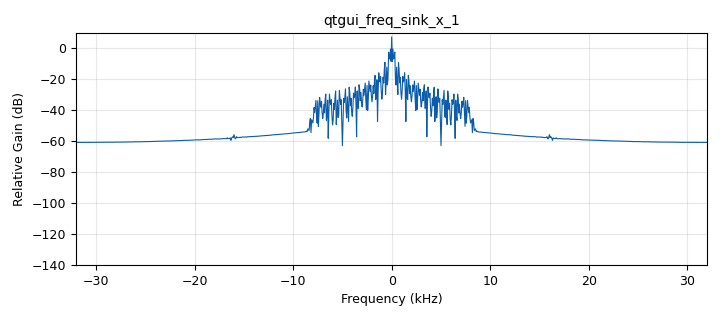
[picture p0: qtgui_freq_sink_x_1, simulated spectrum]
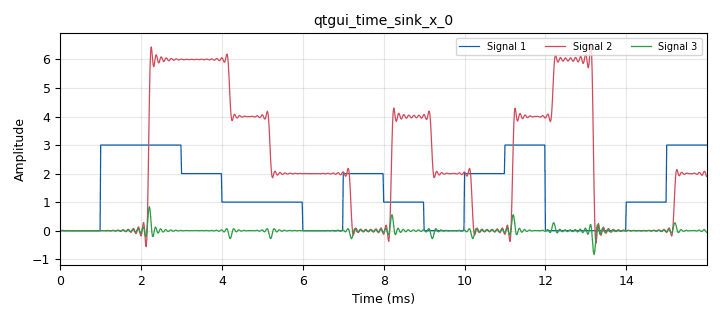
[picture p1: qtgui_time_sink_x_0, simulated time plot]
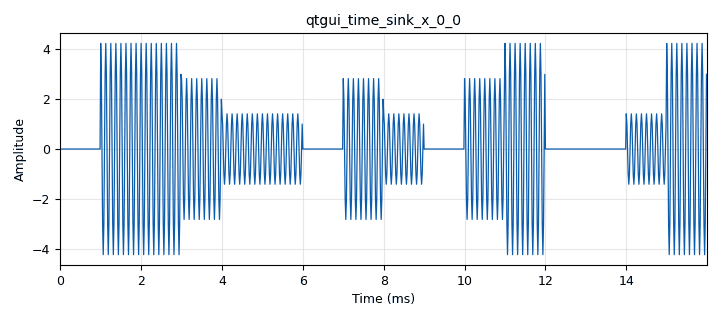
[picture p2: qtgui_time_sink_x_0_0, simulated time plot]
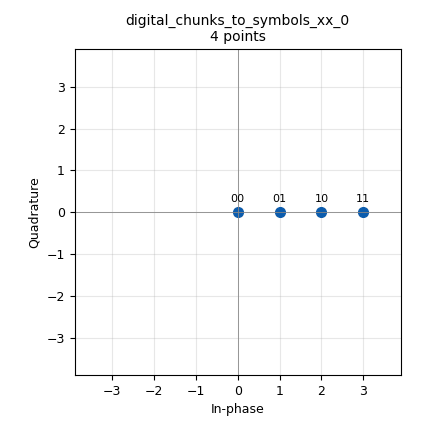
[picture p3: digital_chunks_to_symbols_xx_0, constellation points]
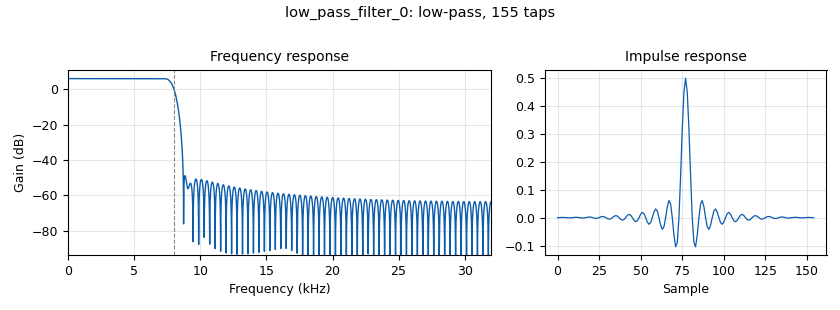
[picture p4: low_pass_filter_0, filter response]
options:
  parameters:
    author: ayyou
    generate_options: qt_gui
    id: untitled
    output_language: python
    title: Not titled yet
  states: {}

blocks:
- name: Delay
  id: variable_qtgui_range
  parameters:
    label: delay_bandpass_signal
    start: '0'
    step: '1'
    stop: '1000'
    value: '0'
  states: {}
- name: carrier_frequency
  id: variable
  parameters:
    value: '8000'
  states: {}
- name: interpolating_factor
  id: variable
  parameters:
    value: samp_rate //1000
  states: {}
- name: samp_rate
  id: variable
  parameters:
    value: '64000'
  states: {}
- name: analog_random_source_x_0
  id: analog_random_source_x
  parameters:
    max: '4'
    min: '0'
    num_samps: '1024'
    repeat: 'True'
    type: int
  states: {}
- name: analog_sig_source_x_0
  id: analog_sig_source_x
  parameters:
    amp: '1.414213562'
    freq: carrier_frequency
    offset: '0'
    phase: '0'
    samp_rate: samp_rate
    type: float
    waveform: analog.GR_COS_WAVE
  states: {}
- name: analog_sig_source_x_0_0
  id: analog_sig_source_x
  parameters:
    amp: '1.414213562'
    freq: carrier_frequency
    offset: '0'
    phase: '0'
    samp_rate: samp_rate
    type: float
    waveform: analog.GR_COS_WAVE
  states: {}
- name: analog_sig_source_x_0_0_0
  id: analog_sig_source_x
  parameters:
    amp: '1.414213562'
    freq: carrier_frequency
    offset: '0'
    phase: '0'
    samp_rate: samp_rate
    type: float
    waveform: analog.GR_SIN_WAVE
  states: {}
- name: blocks_delay_0
  id: blocks_delay
  parameters:
    delay: Delay
    type: float
  states: {}
- name: blocks_multiply_xx_0
  id: blocks_multiply_xx
  parameters:
    type: float
  states: {}
- name: blocks_multiply_xx_0_0
  id: blocks_multiply_xx
  parameters:
    type: float
  states: {}
- name: blocks_multiply_xx_0_0_0
  id: blocks_multiply_xx
  parameters:
    type: float
  states: {}
- name: blocks_throttle2_0
  id: blocks_throttle2
  parameters:
    samples_per_second: samp_rate
    type: float
  states: {}
- name: digital_chunks_to_symbols_xx_0
  id: digital_chunks_to_symbols_xx
  parameters:
    dimension: '1'
    in_type: int
    out_type: float
    symbol_table: '[0,1,2,3]'
  states: {}
- name: import_1
  id: import
  parameters:
    imports: import numpy
  states: {}
- name: interp_fir_filter_xxx_0
  id: interp_fir_filter_xxx
  parameters:
    interp: interpolating_factor
    taps: numpy.full(interpolating_factor,1)
    type: fff
  states: {}
- name: low_pass_filter_0
  id: low_pass_filter
  parameters:
    cutoff_freq: carrier_frequency
    decim: '1'
    gain: '2'
    samp_rate: samp_rate
    type: fir_filter_fff
    width: '1000'
    win: window.WIN_HAMMING
  states: {}
- name: low_pass_filter_0_0
  id: low_pass_filter
  parameters:
    cutoff_freq: carrier_frequency
    decim: '1'
    gain: '2'
    samp_rate: samp_rate
    type: fir_filter_fff
    width: '1000'
    win: window.WIN_HAMMING
  states: {}
- name: qtgui_freq_sink_x_1
  id: qtgui_freq_sink_x
  parameters:
    bw: samp_rate
    fc: '0'
    fftsize: '1024'
    type: float
    wintype: window.WIN_RECTANGULAR
  states: {}
- name: qtgui_time_sink_x_0
  id: qtgui_time_sink_x
  parameters:
    autoscale: 'True'
    grid: 'True'
    nconnections: '3'
    size: '1024'
    srate: samp_rate
    type: float
  states: {}
- name: qtgui_time_sink_x_0_0
  id: qtgui_time_sink_x
  parameters:
    autoscale: 'True'
    grid: 'True'
    size: '1024'
    srate: samp_rate
    type: float
  states: {}
- name: virtual_sink_0
  id: virtual_sink
  parameters:
    stream_id: baseband_signal
  states: {}
- name: virtual_source_0
  id: virtual_source
  parameters:
    stream_id: baseband_signal
  states: {}

connections:
- [analog_random_source_x_0, '0', digital_chunks_to_symbols_xx_0, '0']
- [analog_sig_source_x_0, '0', blocks_multiply_xx_0, '1']
- [analog_sig_source_x_0_0, '0', blocks_multiply_xx_0_0, '1']
- [analog_sig_source_x_0_0_0, '0', blocks_multiply_xx_0_0_0, '1']
- [blocks_delay_0, '0', qtgui_time_sink_x_0, '0']
- [blocks_multiply_xx_0, '0', blocks_multiply_xx_0_0, '0']
- [blocks_multiply_xx_0, '0', blocks_multiply_xx_0_0_0, '0']
- [blocks_multiply_xx_0, '0', qtgui_time_sink_x_0_0, '0']
- [blocks_multiply_xx_0_0, '0', low_pass_filter_0, '0']
- [blocks_multiply_xx_0_0_0, '0', low_pass_filter_0_0, '0']
- [blocks_throttle2_0, '0', interp_fir_filter_xxx_0, '0']
- [digital_chunks_to_symbols_xx_0, '0', blocks_throttle2_0, '0']
- [interp_fir_filter_xxx_0, '0', blocks_delay_0, '0']
- [interp_fir_filter_xxx_0, '0', virtual_sink_0, '0']
- [low_pass_filter_0, '0', qtgui_freq_sink_x_1, '0']
- [low_pass_filter_0, '0', qtgui_time_sink_x_0, '1']
- [low_pass_filter_0_0, '0', qtgui_time_sink_x_0, '2']
- [virtual_source_0, '0', blocks_multiply_xx_0, '0']

metadata:
  file_format: 1
  grc_version: 3.10.12.0
